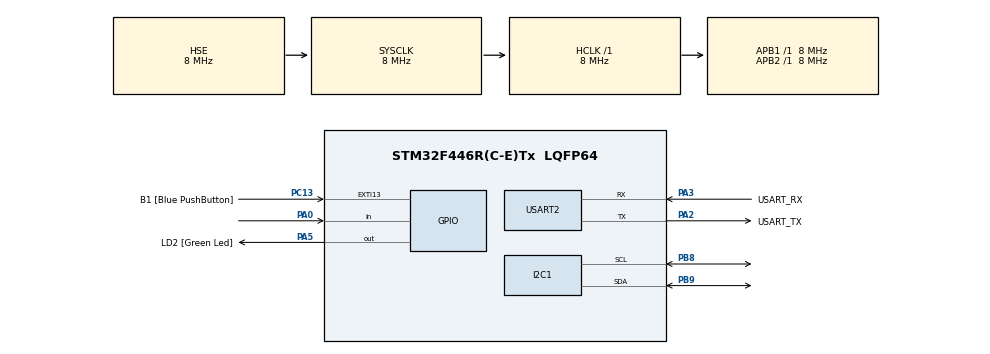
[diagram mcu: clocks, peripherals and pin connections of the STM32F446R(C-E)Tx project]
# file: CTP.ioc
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Mcu.Family=STM32F4
Mcu.Name=STM32F446R(C-E)Tx
Mcu.Package=LQFP64
NVIC.PriorityGroup=NVIC_PRIORITYGROUP_0
PA0-WKUP.GPIO_PuPd=GPIO_PULLDOWN
PA0-WKUP.Signal=GPIO_Input
PA13.GPIO_Label=TMS
PA13.Mode=Serial_Wire
PA13.Signal=SYS_JTMS-SWDIO
PA14.GPIO_Label=TCK
PA14.Mode=Serial_Wire
PA14.Signal=SYS_JTCK-SWCLK
PA2.GPIO_Label=USART_TX
PA2.Mode=Asynchronous
PA2.Signal=USART2_TX
PA3.GPIO_Label=USART_RX
PA3.Mode=Asynchronous
PA3.Signal=USART2_RX
PA5.GPIO_Label=LD2 [Green Led]
PA5.Signal=GPIO_Output
PB3.GPIO_Label=SWO
PB3.Signal=SYS_JTDO-SWO
PB8.Mode=I2C
PB8.Signal=I2C1_SCL
PB9.Mode=I2C
PB9.Signal=I2C1_SDA
PC13.GPIO_Label=B1 [Blue PushButton]
PC13.GPIO_ModeDefaultEXTI=GPIO_MODE_IT_FALLING
PC13.Signal=GPXTI13
PC14-OSC32_IN.Signal=RCC_OSC32_IN
PC15-OSC32_OUT.Signal=RCC_OSC32_OUT
PH0-OSC_IN.Mode=HSE-External-Oscillator
PH0-OSC_IN.Signal=RCC_OSC_IN
PH1-OSC_OUT.Mode=HSE-External-Oscillator
PH1-OSC_OUT.Signal=RCC_OSC_OUT
ProjectManager.HeapSize=0x200
ProjectManager.StackSize=0x400
ProjectManager.TargetToolchain=STM32CubeIDE
RCC.AHBFreq_Value=8000000
RCC.APB1Freq_Value=8000000
RCC.APB1TimFreq_Value=8000000
RCC.APB2Freq_Value=8000000
RCC.APB2TimFreq_Value=8000000
RCC.CortexFreq_Value=8000000
RCC.FLatency-AdvancedSettings=FLASH_LATENCY_0
RCC.HCLKFreq_Value=8000000
RCC.HSE_VALUE=8000000
RCC.HSI_VALUE=16000000
RCC.LSE_VALUE=32768
RCC.PLLM=8
RCC.PLLN=180
RCC.PLLSourceVirtual=RCC_PLLSOURCE_HSE
RCC.SYSCLKFreq_VALUE=8000000
RCC.SYSCLKSource=RCC_SYSCLKSOURCE_HSE
RCC.USBFreq_Value=90000000
RCC.VCOOutputFreq_Value=180000000
USART2.VirtualMode=VM_ASYNC
board=NUCLEO-F446RE

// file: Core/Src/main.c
/* USER CODE BEGIN Header */
/**
  ******************************************************************************
  * @file           : main.c
  * @brief          : Main program body
  ******************************************************************************
  * @attention
  *
  * <h2><center>&copy; Copyright (c) 2020 STMicroelectronics.
  * All rights reserved.</center></h2>
  *
  * This software component is licensed by ST under BSD 3-Clause license,
  * the "License"; You may not use this file except in compliance with the
  * License. You may obtain a copy of the License at:
  *                        opensource.org/licenses/BSD-3-Clause
  *
  ******************************************************************************
  */
/* USER CODE END Header */
#include "main.h"

/* USER CODE BEGIN Includes */
#include <stdio.h>
#include <string.h>
#include "stdarg.h"
#include "stdlib.h"

#include "ft5426.h"
/* USER CODE END Includes */

I2C_HandleTypeDef hi2c1;

UART_HandleTypeDef huart2;

void SystemClock_Config(void);
static void MX_GPIO_Init(void);
static void MX_I2C1_Init(void);
static void MX_USART2_UART_Init(void);

/* USER CODE BEGIN 0 */
HAL_StatusTypeDef res;

void UART_Printf(const char* fmt, ...)
{
    char buff[256];
    va_list args;
    va_start(args, fmt);
    vsnprintf(buff, sizeof(buff), fmt, args);
    HAL_UART_Transmit(&huart2, (uint8_t*)buff, strlen(buff), HAL_MAX_DELAY);
    va_end(args);
}

void find_i2c_address()
{
	uint8_t i=0;
	for(i=0; i<128; i++)
	{
		res = HAL_I2C_IsDeviceReady(&hi2c1, (uint16_t)i, 2, 2);
		if(res == HAL_OK)
			UART_Printf("0x%X ", i);
		else
			UART_Printf(".");
	}
	UART_Printf("\r\n");
}
/* USER CODE END 0 */

int main(void)
{

  /* MCU Configuration--------------------------------------------------------*/

  /* Reset of all peripherals, Initializes the Flash interface and the Systick. */
  HAL_Init();

  /* Configure the system clock */
  SystemClock_Config();

  /* Initialize all configured peripherals */
  MX_GPIO_Init();
  MX_I2C1_Init();
  MX_USART2_UART_Init();
  /* USER CODE BEGIN 2 */
  UART_Printf("Ready\r\n");
 // find_i2c_address();
  ft5426_init(&hi2c1);

  /* USER CODE END 2 */

  /* Infinite loop */
  while (1)
  {

    /* USER CODE BEGIN 3 */
	ft5426_readpoint(&touch_screen);
	if(HAL_GPIO_ReadPin(GPIOA, GPIO_PIN_0) == 0)
		UART_Printf("%d %d\r\n", touch_screen.x_coordinate, touch_screen.y_coordinate);
  }
  /* USER CODE END 3 */
}

void SystemClock_Config(void)
{
  RCC_OscInitTypeDef RCC_OscInitStruct = {0};
  RCC_ClkInitTypeDef RCC_ClkInitStruct = {0};

  /** Configure the main internal regulator output voltage
  */
  __HAL_RCC_PWR_CLK_ENABLE();
  __HAL_PWR_VOLTAGESCALING_CONFIG(PWR_REGULATOR_VOLTAGE_SCALE3);
  /** Initializes the RCC Oscillators according to the specified parameters
  * in the RCC_OscInitTypeDef structure.
  */
  RCC_OscInitStruct.OscillatorType = RCC_OSCILLATORTYPE_HSE;
  RCC_OscInitStruct.HSEState = RCC_HSE_ON;
  RCC_OscInitStruct.PLL.PLLState = RCC_PLL_NONE;
  if (HAL_RCC_OscConfig(&RCC_OscInitStruct) != HAL_OK)
  {
    Error_Handler();
  }
  /** Initializes the CPU, AHB and APB buses clocks
  */
  RCC_ClkInitStruct.ClockType = RCC_CLOCKTYPE_HCLK|RCC_CLOCKTYPE_SYSCLK
                              |RCC_CLOCKTYPE_PCLK1|RCC_CLOCKTYPE_PCLK2;
  RCC_ClkInitStruct.SYSCLKSource = RCC_SYSCLKSOURCE_HSE;
  RCC_ClkInitStruct.AHBCLKDivider = RCC_SYSCLK_DIV1;
  RCC_ClkInitStruct.APB1CLKDivider = RCC_HCLK_DIV1;
  RCC_ClkInitStruct.APB2CLKDivider = RCC_HCLK_DIV1;

  if (HAL_RCC_ClockConfig(&RCC_ClkInitStruct, FLASH_LATENCY_0) != HAL_OK)
  {
    Error_Handler();
  }
}

static void MX_I2C1_Init(void)
{

  hi2c1.Instance = I2C1;
  hi2c1.Init.ClockSpeed = 100000;
  hi2c1.Init.DutyCycle = I2C_DUTYCYCLE_2;
  hi2c1.Init.OwnAddress1 = 0;
  hi2c1.Init.AddressingMode = I2C_ADDRESSINGMODE_7BIT;
  hi2c1.Init.DualAddressMode = I2C_DUALADDRESS_DISABLE;
  hi2c1.Init.OwnAddress2 = 0;
  hi2c1.Init.GeneralCallMode = I2C_GENERALCALL_DISABLE;
  hi2c1.Init.NoStretchMode = I2C_NOSTRETCH_DISABLE;
  if (HAL_I2C_Init(&hi2c1) != HAL_OK)
  {
    Error_Handler();
  }

}

static void MX_USART2_UART_Init(void)
{

  huart2.Instance = USART2;
  huart2.Init.BaudRate = 115200;
  huart2.Init.WordLength = UART_WORDLENGTH_8B;
  huart2.Init.StopBits = UART_STOPBITS_1;
  huart2.Init.Parity = UART_PARITY_NONE;
  huart2.Init.Mode = UART_MODE_TX_RX;
  huart2.Init.HwFlowCtl = UART_HWCONTROL_NONE;
  huart2.Init.OverSampling = UART_OVERSAMPLING_16;
  if (HAL_UART_Init(&huart2) != HAL_OK)
  {
    Error_Handler();
  }

}

static void MX_GPIO_Init(void)
{
  GPIO_InitTypeDef GPIO_InitStruct = {0};

  /* GPIO Ports Clock Enable */
  __HAL_RCC_GPIOC_CLK_ENABLE();
  __HAL_RCC_GPIOH_CLK_ENABLE();
  __HAL_RCC_GPIOA_CLK_ENABLE();
  __HAL_RCC_GPIOB_CLK_ENABLE();

  /*Configure GPIO pin Output Level */
  HAL_GPIO_WritePin(LD2_GPIO_Port, LD2_Pin, GPIO_PIN_RESET);

  /*Configure GPIO pin : B1_Pin */
  GPIO_InitStruct.Pin = B1_Pin;
  GPIO_InitStruct.Mode = GPIO_MODE_IT_FALLING;
  GPIO_InitStruct.Pull = GPIO_NOPULL;
  HAL_GPIO_Init(B1_GPIO_Port, &GPIO_InitStruct);

  /*Configure GPIO pin : PA0 */
  GPIO_InitStruct.Pin = GPIO_PIN_0;
  GPIO_InitStruct.Mode = GPIO_MODE_INPUT;
  GPIO_InitStruct.Pull = GPIO_PULLDOWN;
  HAL_GPIO_Init(GPIOA, &GPIO_InitStruct);

  /*Configure GPIO pin : LD2_Pin */
  GPIO_InitStruct.Pin = LD2_Pin;
  GPIO_InitStruct.Mode = GPIO_MODE_OUTPUT_PP;
  GPIO_InitStruct.Pull = GPIO_NOPULL;
  GPIO_InitStruct.Speed = GPIO_SPEED_FREQ_LOW;
  HAL_GPIO_Init(LD2_GPIO_Port, &GPIO_InitStruct);

}

void Error_Handler(void)
{
}

/************************ (C) COPYRIGHT STMicroelectronics *****END OF FILE****/
